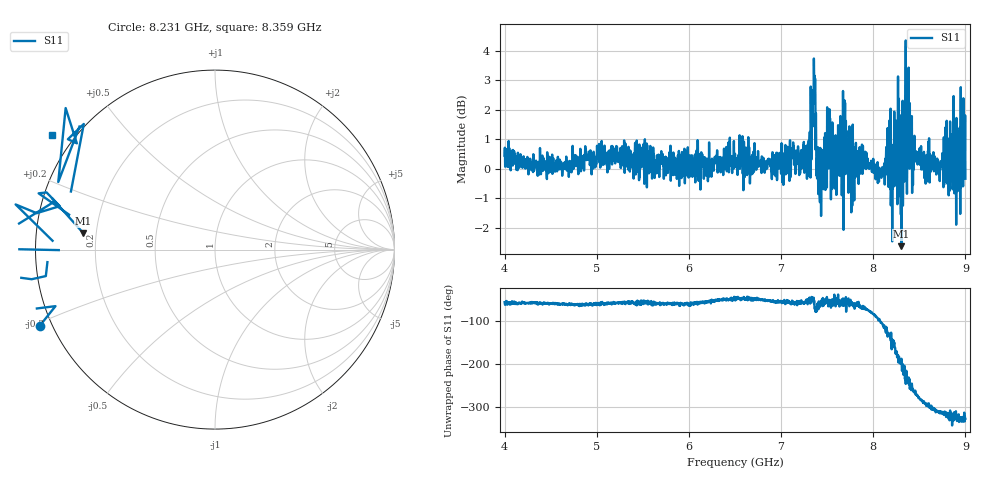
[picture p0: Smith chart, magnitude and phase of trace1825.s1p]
! Created with skrf 1.8.0 (http://scikit-rf.org).
# Hz S RI R 50.0
!freq ReS11 ImS11
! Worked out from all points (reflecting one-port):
!   1601 points, 4 GHz to 9 GHz, reference 50 ohm
!   lowest |S11| = -2.6 dB at 8.306 GHz (marker M1), VSWR 6.66, Z = 7.54 + j3.02 ohm
!   phase of S11 starts at -55 deg and turns -271 deg over the sweep
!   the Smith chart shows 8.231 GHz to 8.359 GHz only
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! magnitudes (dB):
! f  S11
! 4 GHz  0.4
! 4.625 GHz  -0.2
! 5.25 GHz  0.3
! 5.875 GHz  0.1
! 6.5 GHz  0.5
! 7.125 GHz  0.4
! 7.294 GHz  0.6
! 7.347 GHz  2.7
! 7.375 GHz  0.6
! 7.409 GHz  -0.6
! 7.428 GHz  0.0
! 7.512 GHz  1.1
! 7.591 GHz  1.1
! 7.691 GHz  0.8
! 7.75 GHz  -0.1
! 8.075 GHz  -0.1
! 8.162 GHz  -0.6
! 8.188 GHz  2.0
! 8.225 GHz  0.1
! 8.253 GHz  0.8
! 8.306 GHz  -2.6
! 8.334 GHz  1.2
! 8.375 GHz  1.2
! 8.447 GHz  1.1
! 8.556 GHz  -0.3
! 8.875 GHz  0.3
! 8.972 GHz  1.0
! 9 GHz  -0.3
